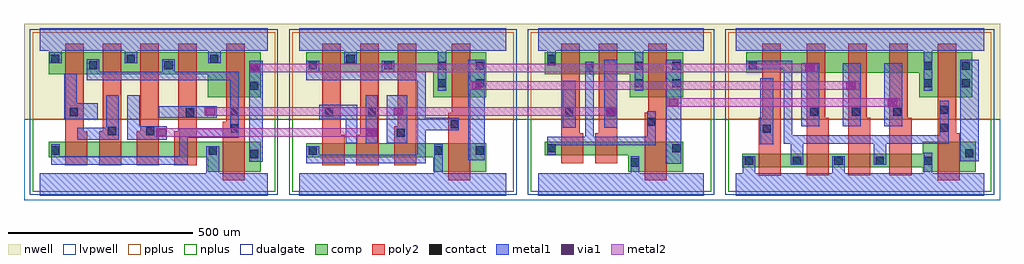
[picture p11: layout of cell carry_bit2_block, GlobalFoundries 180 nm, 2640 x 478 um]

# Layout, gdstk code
import gdstk
lib = gdstk.Library(unit=1e-6, precision=1e-07)
def R(c, l, rs):  # rectangles x0, y0, x1, y1
    for r in rs: c.add(gdstk.rectangle(r[:2], r[2:], *l))
def A(c, l, x, y, w, h, nx, ny, dx, dy):  # array of equal rectangles
    R(c, l, [(x+i*dx, y+j*dy, x+i*dx+w, y+j*dy+h) for i in range(nx) for j in range(ny)])
def P(c, l, *ps):  # polygons
    for p in ps: c.add(gdstk.Polygon(p, *l))
nwell = (21, 0)
comp = (22, 0)
poly2 = (30, 0)
pplus = (31, 0)
nplus = (32, 0)
contact = (33, 0)
metal1 = (34, 0)
via1 = (35, 0)
metal2 = (36, 0)
dualgate = (55, 0)
lvpwell = (204, 0)

carry_bit2_unit = lib.new_cell('carry_bit2_unit')
R(carry_bit2_unit, nwell, [(193,1023.6,895,1282.6), (895,1023.6,1541,1282.6), (1541,1023.6,2075,1282.6), (2075,1023.6,2833,1282.6)])
P(carry_bit2_unit, comp, [(1300,882.1),(1300,921.6),(956,921.6),(956,959.6),(1444,959.6),(1444,882.1)],
  [(1300,1084.1),(1300,1152.1),(956,1152.1),(956,1205.6),(1444,1205.6),(1444,1084.1)],
  [(690,882.1),(690,921.6),(260,921.6),(260,963.6),(834,963.6),(834,882.1)],
  [(690,1083.6),(690,1145.6),(260,1145.6),(260,1205.6),(834,1205.6),(834,1083.6)],
  [(2614,1083.6),(2614,1149.6),(2146,1149.6),(2146,1205.6),(2758,1205.6),(2758,1083.6)],
  [(2624,881.6),(2624,894.1),(2136,894.1),(2136,930.1),(2624,930.1),(2624,963.6),(2768,963.6),(2768,881.6)],
  [(1828,882.1),(1828,927.1),(1602,927.1),(1602,963.6),(1976,963.6),(1976,882.1)],
  [(1832,1083.6),(1832,1145.1),(1602,1145.1),(1602,1205.1),(1976,1205.1),(1976,1083.6)])
P(carry_bit2_unit, poly2, [(1000,899.6),(1000,1227.6),(1050,1227.6),(1050,981.6),(1060,981.6),(1060,899.6)],
  [(1092,899.6),(1092,981.6),(1102,981.6),(1102,1227.6),(1152,1227.6),(1152,899.6)],
  [(1194,899.6),(1194,1005.6),(1204,1005.6),(1204,1227.6),(1254,1227.6),(1254,899.6)],
  [(1340,859.6),(1340,1041.6),(1350,1041.6),(1350,1227.6),(1400,1227.6),(1400,859.6)],
  [(304,899.6),(304,1227.6),(354,1227.6),(354,991.6),(364,991.6),(364,899.6)],
  [(396,899.6),(396,991.6),(406,991.6),(406,1227.6),(456,1227.6),(456,899.6)],
  [(498,899.6),(498,991.6),(508,991.6),(508,1227.6),(558,1227.6),(558,899.6)],
  [(600,899.6),(600,991.6),(610,991.6),(610,1227.6),(660,1227.6),(660,899.6)],
  [(730,859.6),(730,1017.1),(740,1017.1),(740,1227.6),(790,1227.6),(790,859.6)],
  [(2180,871.6),(2180,1027.6),(2190,1027.6),(2190,1227.6),(2240,1227.6),(2240,871.6)],
  [(2310,872.1),(2310,1227.6),(2360,1227.6),(2360,1027.6),(2370,1027.6),(2370,872.1)],
  [(2422,872.1),(2422,1227.6),(2472,1227.6),(2472,1027.6),(2482,1027.6),(2482,872.1)],
  [(2534,872.1),(2534,1227.6),(2584,1227.6),(2584,1027.6),(2594,1027.6),(2594,872.1)],
  [(2664,859.6),(2664,1227.6),(2714,1227.6),(2714,985.6),(2724,985.6),(2724,859.6)],
  [(1646,905.1),(1646,1227.6),(1696,1227.6),(1696,985.6),(1706,985.6),(1706,905.1)],
  [(1738,905.1),(1738,985.6),(1748,985.6),(1748,1227.6),(1798,1227.6),(1798,905.1)],
  [(1872,859.6),(1872,1042.1),(1882,1042.1),(1882,1227.6),(1932,1227.6),(1932,859.6)])
R(carry_bit2_unit, pplus, [(216,1023.6,872,1259.6), (918,1023.6,1518,1259.6), (1564,1023.6,2052,1259.6), (2098,1023.6,2810,1259.6)])
R(carry_bit2_unit, nplus, [(216,827.6,872,1023.6), (918,827.6,1518,1023.6), (1564,827.6,2052,1023.6), (2098,827.6,2810,1023.6)])
A(carry_bit2_unit, contact, 2273, 901.1, 22, 22, 3, 1, 112, 0)
A(carry_bit2_unit, contact, 2320, 1033.6, 22, 22, 3, 1, 112, 0)
R(carry_bit2_unit, contact, [(1835,896.1,1857,918.1), (2143,901.1,2165,923.1), (2627,901.1,2649,923.1), (805,919.1,827,941.1), (2739,921.1,2761,943.1), (267,928.6,289,950.6), (692.5,928.6,714.5,950.6), (963,928.6,985,950.6), (1303,928.6,1325,950.6), (1415,928.6,1437,950.6), (1609,934.1,1631,956.1), (1947,934.1,1969,956.1), (1201,976.6,1223,998.6), (420,981.1,442,1003.1), (523.5,981.1,545.5,1003.1), (2191,987.6,2213,1009.6), (752,988.1,774,1010.1), (2671,989.6,2693,1011.6), (1347,999.6,1369,1021.6), (1879,1006.1,1901,1028.1), (631,1031.1,653,1053.1), (317,1032.6,339,1054.6), (1007,1032.6,1029,1054.6), (1123,1032.6,1145,1054.6), (1657,1032.6,1679,1054.6), (1769,1032.6,1791,1054.6), (752,1035.1,774,1057.1), (2671,1039.1,2693,1061.1), (805,1103.6,827,1125.6), (1313,1110.6,1335,1132.6), (1415,1110.6,1437,1132.6), (1845,1110.6,1867,1132.6), (1947,1110.6,1969,1132.6), (2627,1110.6,2649,1132.6), (2729,1110.6,2751,1132.6), (805,1150.6,827,1172.6), (1711,1152.1,1733,1174.1), (1313,1157.6,1335,1179.6), (1415,1157.6,1437,1179.6), (1845,1157.6,1867,1179.6), (1947,1157.6,1969,1179.6), (2627,1157.6,2649,1179.6), (2729,1157.6,2751,1179.6), (369,1158.6,391,1180.6), (573,1158.6,595,1180.6), (963,1159.1,985,1181.1), (1167,1159.1,1189,1181.1), (2153,1160.1,2175,1182.1), (1609,1176.1,1631,1198.1), (267,1176.6,289,1198.6), (471,1176.6,493,1198.6), (697,1176.6,719,1198.6), (1065,1176.6,1087,1198.6)])
A(carry_bit2_unit, metal1, 2296, 1005.6, 48, 170, 3, 1, 112, 0)
R(carry_bit2_unit, metal1, [(1929,903.1,1971,1185.6), (802,908.6,839,1182.6), (2725,910.6,2775.5,1185.6), (1395,912.6,1439,1185.6), (2184,956.1,2220,1134.6), (1118,959.6,1150,1089.1), (1174,959.6,1229,1089.1), (1650,1001.6,1686,1128.6), (1762,1001.6,1798,1184.6), (557.5,1027.6,714,1059.6)])
P(carry_bit2_unit, metal1, [(1063,959.6),(1063,1024.6),(992,1024.6),(992,1062.6),(1095,1062.6),(1095,959.6)],
  [(957,905.1),(957,951.1),(991,951.1),(991,928.1),(1256.5,928.1),(1256.5,1130.1),(957,1130.1),(957,1181.6),(991,1181.6),(991,1153.1),(1161,1153.1),(1161,1181.6),(1195,1181.6),(1195,1153.1),(1279.5,1153.1),(1279.5,1027.6),(1369.5,1027.6),(1369.5,993.6),(1279.5,993.6),(1279.5,905.1)],
  [(938,817.6),(938,877.6),(1302.5,877.6),(1302.5,956.6),(1325.5,956.6),(1325.5,877.6),(1498,877.6),(1498,817.6)],
  [(1312.5,1100.6),(1312.5,1209.6),(1093,1209.6),(1093,1176.1),(1059,1176.1),(1059,1209.6),(938,1209.6),(938,1269.6),(1498,1269.6),(1498,1209.6),(1335.5,1209.6),(1335.5,1100.6)],
  [(302,1024.6),(302,1147.6),(336,1147.6),(336,1066.6),(392,1066.6),(392,1024.6)],
  [(337.5,968.6),(337.5,1001.6),(415,1001.6),(415,1088.6),(449,1088.6),(449,968.6)],
  [(472,968.6),(472,1088.6),(506,1088.6),(506,1004.6),(579,1004.6),(579,968.6)],
  [(266.5,900.6),(266.5,956.6),(289.5,956.6),(289.5,923.6),(613,923.6),(613,998.1),(751.5,998.1),(751.5,1130.1),(363,1130.1),(363,1186.6),(397,1186.6),(397,1153.1),(567,1153.1),(567,1186.6),(601,1186.6),(601,1153.1),(774.5,1153.1),(774.5,974.1),(636,974.1),(636,900.6)],
  [(236,817.6),(236,877.6),(686.5,877.6),(686.5,951.1),(720.5,951.1),(720.5,877.6),(852,877.6),(852,817.6)],
  [(261,1176.1),(261,1209.6),(236,1209.6),(236,1269.6),(852,1269.6),(852,1209.6),(725,1209.6),(725,1176.1),(691,1176.1),(691,1209.6),(499,1209.6),(499,1176.1),(465,1176.1),(465,1209.6),(295,1209.6),(295,1176.1)],
  [(2267,900.6),(2267,957.1),(2248,957.1),(2248,1159.6),(2146,1159.6),(2146,1182.6),(2271,1182.6),(2271,980.6),(2669.5,980.6),(2669.5,1074.6),(2694.5,1074.6),(2694.5,957.1),(2525,957.1),(2525,900.6),(2491,900.6),(2491,957.1),(2301,957.1),(2301,900.6)],
  [(2118,817.6),(2118,877.6),(2137,877.6),(2137,923.6),(2171,923.6),(2171,877.6),(2379,877.6),(2379,923.6),(2413,923.6),(2413,877.6),(2626.5,877.6),(2626.5,933.1),(2649.5,933.1),(2649.5,877.6),(2790,877.6),(2790,817.6)],
  [(2626.5,1100.6),(2626.5,1209.6),(2118,1209.6),(2118,1269.6),(2790,1269.6),(2790,1209.6),(2649.5,1209.6),(2649.5,1100.6)],
  [(1608.5,928.1),(1608.5,976.6),(1710.5,976.6),(1710.5,1180.1),(1733.5,1180.1),(1733.5,976.6),(1878.5,976.6),(1878.5,1046.1),(1901.5,1046.1),(1901.5,953.1),(1631.5,953.1),(1631.5,928.1)],
  [(1584,817.6),(1584,877.6),(1834.5,877.6),(1834.5,924.1),(1857.5,924.1),(1857.5,877.6),(2032,877.6),(2032,817.6)],
  [(1844.5,1100.6),(1844.5,1209.6),(1631.5,1209.6),(1631.5,1170.1),(1608.5,1170.1),(1608.5,1209.6),(1584,1209.6),(1584,1269.6),(2032,1269.6),(2032,1209.6),(1867.5,1209.6),(1867.5,1100.6)])
R(carry_bit2_unit, dualgate, [(208,819.6,880,1267.6), (910,819.6,1526,1267.6), (1556,819.6,2060,1267.6), (2090,819.6,2818,1267.6)])
R(carry_bit2_unit, lvpwell, [(193,804.6,895,1023.6), (895,804.6,1541,1023.6), (1541,804.6,2075,1023.6), (2075,804.6,2833,1023.6)])
carry_bit2_unit.add(gdstk.Label('IN2_P2', (1190,1043.6), layer=34, texttype=10))
carry_bit2_unit.add(gdstk.Label('VDD', (1218,1239.6), layer=34, texttype=10))
carry_bit2_unit.add(gdstk.Label('VSS', (1218,847.6), layer=34, texttype=10))
carry_bit2_unit.add(gdstk.Label('OUT_AND3_P21G0', (1414,1043.6), layer=34, texttype=10))
carry_bit2_unit.add(gdstk.Label('IN0_G0', (1022,1043.6), layer=34, texttype=10))
carry_bit2_unit.add(gdstk.Label('IN1_P1', (1134,1043.6), layer=34, texttype=10))
carry_bit2_unit.add(gdstk.Label('IN2_P1', (488,1043.6), layer=34, texttype=10))
carry_bit2_unit.add(gdstk.Label('IN3_P2', (656,1043.6), layer=34, texttype=10))
carry_bit2_unit.add(gdstk.Label('VDD', (376,1239.6), layer=34, texttype=10))
carry_bit2_unit.add(gdstk.Label('VSS', (376,847.6), layer=34, texttype=10))
carry_bit2_unit.add(gdstk.Label('OUT_AND4_P210C-1', (824,1043.6), layer=34, texttype=10))
carry_bit2_unit.add(gdstk.Label('IN0_C-1', (320,1099.6), layer=34, texttype=10))
carry_bit2_unit.add(gdstk.Label('IN1_P0', (432,1043.6), layer=34, texttype=10))
carry_bit2_unit.add(gdstk.Label('IN2_P21G0', (2426,1099.6), layer=34, texttype=10))
carry_bit2_unit.add(gdstk.Label('IN3_P2G1', (2538,1099.6), layer=34, texttype=10))
carry_bit2_unit.add(gdstk.Label('VDD', (2482,1241.6), layer=34, texttype=10))
carry_bit2_unit.add(gdstk.Label('VSS', (2482,845.6), layer=34, texttype=10))
carry_bit2_unit.add(gdstk.Label('OUT_OR4_C2', (2762,1043.6), layer=34, texttype=10))
carry_bit2_unit.add(gdstk.Label('IN0_G2', (2202,1043.6), layer=34, texttype=10))
carry_bit2_unit.add(gdstk.Label('IN1_P210C-1', (2314,1099.6), layer=34, texttype=10))
carry_bit2_unit.add(gdstk.Label('VDD', (1808,1239.6), layer=34, texttype=10))
carry_bit2_unit.add(gdstk.Label('VSS', (1808,847.6), layer=34, texttype=10))
carry_bit2_unit.add(gdstk.Label('OUT_AND2_P2G1', (1948,1043.6), layer=34, texttype=10))
carry_bit2_unit.add(gdstk.Label('IN0_G1', (1668,1043.6), layer=34, texttype=10))
carry_bit2_unit.add(gdstk.Label('IN1_P2', (1780,1099.6), layer=34, texttype=10))
carry_bit2_unit.add(gdstk.Label('& Vendor GLOBALFOUNDRIES', (938,1047.6), layer=63, texttype=63))
carry_bit2_unit.add(gdstk.Label('& Product GF018hv5v_mcu_sc7', (938,997.6), layer=63, texttype=63))
carry_bit2_unit.add(gdstk.Label('& Version 2015q2v1', (938,947.6), layer=63, texttype=63))
carry_bit2_unit.add(gdstk.Label('& Metric 1.00', (938,897.6), layer=63, texttype=63))
carry_bit2_unit.add(gdstk.Label('& Vendor GLOBALFOUNDRIES', (236,1047.6), layer=63, texttype=63))
carry_bit2_unit.add(gdstk.Label('& Product GF018hv5v_mcu_sc7', (236,997.6), layer=63, texttype=63))
carry_bit2_unit.add(gdstk.Label('& Version 2015q2v1', (236,947.6), layer=63, texttype=63))
carry_bit2_unit.add(gdstk.Label('& Metric 1.00', (236,897.6), layer=63, texttype=63))
carry_bit2_unit.add(gdstk.Label('& Vendor GLOBALFOUNDRIES', (2118,1047.6), layer=63, texttype=63))
carry_bit2_unit.add(gdstk.Label('& Product GF018hv5v_mcu_sc7', (2118,997.6), layer=63, texttype=63))
carry_bit2_unit.add(gdstk.Label('& Version 2015q2v1', (2118,947.6), layer=63, texttype=63))
carry_bit2_unit.add(gdstk.Label('& Metric 1.00', (2118,897.6), layer=63, texttype=63))
carry_bit2_unit.add(gdstk.Label('& Vendor GLOBALFOUNDRIES', (1584,1047.6), layer=63, texttype=63))
carry_bit2_unit.add(gdstk.Label('& Product GF018hv5v_mcu_sc7', (1584,997.6), layer=63, texttype=63))
carry_bit2_unit.add(gdstk.Label('& Version 2015q2v1', (1584,947.6), layer=63, texttype=63))
carry_bit2_unit.add(gdstk.Label('& Metric 1.00', (1584,897.6), layer=63, texttype=63))

carry_bit2_block = lib.new_cell('carry_bit2_block')
R(carry_bit2_block, via1, [(1118.9,978.3,1144.5,996.9), (551,978.8,576.6,997.4), (684.4,1035.3,710,1053.9), (1193.3,1035.4,1218.9,1054), (1765.7,1035.6,1791.3,1054.2), (2529,1060.1,2554.6,1078.7), (1937,1060.6,1962.6,1079.2), (1403.6,1105.6,1429.2,1124.2), (2416.4,1105.7,2442,1124.3), (806.4,1153.3,832,1171.9), (2305.3,1153.7,2330.9,1172.3)])
R(carry_bit2_block, metal2, [(549.7,976.4,1146.2,999.3), (681.3,1033,1794.1,1055.9), (1931,1057.9,2563.2,1080.8), (1398.5,1103.2,2452,1126.1), (804,1151.1,2340,1174)])
carry_bit2_block.add(gdstk.Reference(carry_bit2_unit, (-0.5,-0.3)))

lib.write_gds('carry_bit2_block.gds')
